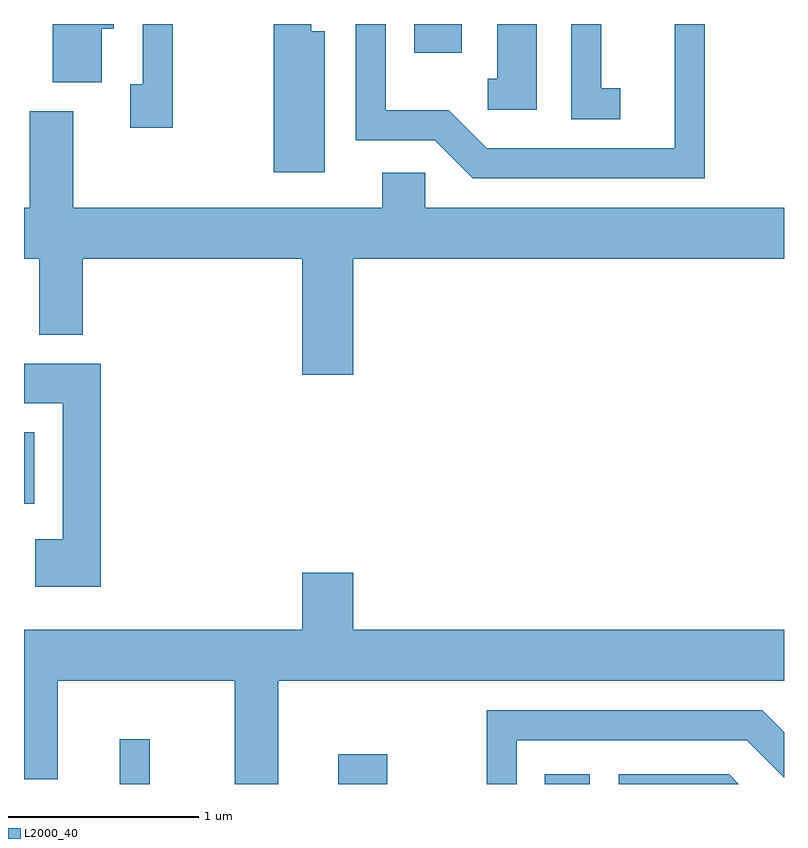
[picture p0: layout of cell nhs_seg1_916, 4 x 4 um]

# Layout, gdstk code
import gdstk
lib = gdstk.Library(unit=1e-6, precision=1e-09)
def R(c, l, rs):  # rectangles x0, y0, x1, y1
    for r in rs: c.add(gdstk.rectangle(r[:2], r[2:], *l))
def P(c, l, *ps):  # polygons
    for p in ps: c.add(gdstk.Polygon(p, *l))
L2000_40 = (2000, 40)

nhs_seg1_916 = lib.new_cell('nhs_seg1_916')
R(nhs_seg1_916, L2000_40, [(214.116,885.712,214.274,885.948), (215.266,885.712,215.524,885.869), (216.353,885.712,216.589,885.764), (213.611,887.186,213.664,887.564), (215.666,889.561,215.914,889.712)])
P(nhs_seg1_916, L2000_40, [(217.194,889.712),(217.036,889.712),(217.036,889.059),(216.047,889.059),(215.847,889.259),(215.514,889.259),(215.514,889.712),(215.356,889.712),(215.356,889.101),(215.774,889.101),(215.974,888.901),(217.194,888.901)],
  [(214.394,889.712),(214.236,889.712),(214.236,889.394),(214.171,889.394),(214.171,889.166),(214.394,889.166)],
  [(214.019,889.686),(214.084,889.686),(214.084,889.712),(213.761,889.712),(213.761,889.406),(214.019,889.406)],
  [(216.309,889.712),(216.101,889.712),(216.101,889.424),(216.053,889.424),(216.053,889.261),(216.309,889.261)],
  [(215.194,889.674),(215.124,889.674),(215.124,889.712),(214.926,889.712),(214.926,888.931),(215.194,888.931)],
  [(216.748,889.374),(216.649,889.374),(216.649,889.712),(216.491,889.712),(216.491,889.211),(216.748,889.211)],
  [(215.344,888.476),(217.611,888.476),(217.611,888.744),(215.724,888.744),(215.724,888.929),(215.496,888.929),(215.496,888.744),(213.869,888.744),(213.869,889.254),(213.641,889.254),(213.641,888.744),(213.611,888.744),(213.611,888.476),(213.691,888.476),(213.691,888.076),(213.919,888.076),(213.919,888.476),(215.076,888.476),(215.076,887.866),(215.344,887.866)],
  [(214.014,887.924),(213.611,887.924),(213.611,887.716),(213.816,887.716),(213.816,886.999),(213.671,886.999),(213.671,886.751),(214.014,886.751)],
  [(214.949,886.256),(217.611,886.256),(217.611,886.524),(215.344,886.524),(215.344,886.824),(215.076,886.824),(215.076,886.524),(213.611,886.524),(213.611,885.736),(213.789,885.736),(213.789,886.256),(214.721,886.256),(214.721,885.712),(214.949,885.712)],
  [(216.204,885.941),(217.414,885.941),(217.611,885.744),(217.611,885.985),(217.497,886.099),(216.046,886.099),(216.046,885.712),(216.204,885.712)],
  [(217.322,885.764),(216.741,885.764),(216.741,885.712),(217.374,885.712)])

lib.write_gds('nhs_seg1_916.gds')
